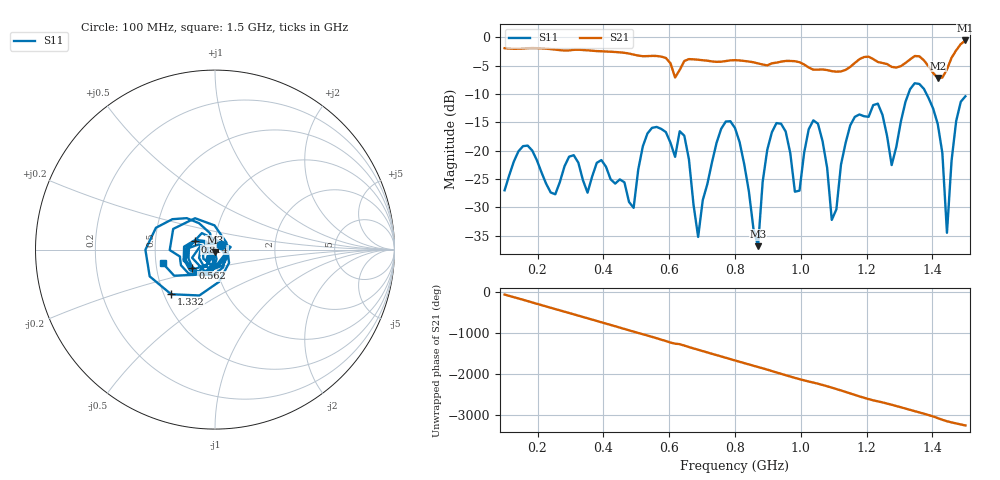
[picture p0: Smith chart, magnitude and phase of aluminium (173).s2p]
! NanoVNA-App
! Date: 2025-09-25 14:56:37
! Start: 100MHz Stop: 1,5GHz Points: 101
! S-Parameter data: F S11 S21 S12 S22
# Hz S RI R 50
!  Frequency  S11_Real  S11_Imag  S21_Real  S21_Imag  S12_Real  S12_Imag  S22_Real  S22_Imag
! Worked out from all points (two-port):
!   101 points, 100 MHz to 1.5 GHz, reference 50 ohm
!   highest |S21| = -0.55 dB at 1.5 GHz (marker M1); lowest = -7.2 dB at 1.416 GHz (marker M2)
!   |S21| within 3 dB of the highest: start of sweep to 584.7 MHz; 1.459 GHz to end of sweep (the widest 2 of 4)
!   lowest |S11| = -36.9 dB at 870 MHz (marker M3), VSWR 1.03, Z = 49.9 - j1.43 ohm
!   |S11| at or under -10 dB: start of sweep to 1.327 GHz; 1.382 GHz to end of sweep
!   S12 and S22 are empty: the file has one direction only
!   S11 on the Smith chart (normalised r, x): 100 MHz: 1.07, +0.06; 562 MHz: 0.76, -0.16; 814 MHz: 0.80, +0.07; 1.332 GHz: 0.55, -0.31; 1.5 GHz: 0.54, -0.09
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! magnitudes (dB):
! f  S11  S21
! 100 MHz  -27.0  -1.9
! 338 MHz  -25.2  -2.2
! 492 MHz  -30.1  -3.1
! 562 MHz  -15.8  -3.3
! 576 MHz  -16.2  -3.4
! 646 MHz  -17.4  -4.2
! 688 MHz  -35.2  -4.0
! 800 MHz  -16.0  -4.0
! 814 MHz  -18.5  -4.1
! 870 MHz  -36.9  -4.6
! 912 MHz  -16.8  -4.6
! 996 MHz  -27.1  -4.4
! 1.038 GHz  -14.7  -5.7
! 1.094 GHz  -32.2  -6.0
! 1.164 GHz  -14.0  -4.5
! 1.234 GHz  -11.7  -4.4
! 1.276 GHz  -22.5  -5.2
! 1.332 GHz  -9.1  -3.9
! 1.416 GHz  -15.3  -7.2
! 1.444 GHz  -34.5  -5.7
! 1.472 GHz  -14.8  -2.3
! 1.5 GHz  -10.4  -0.6
